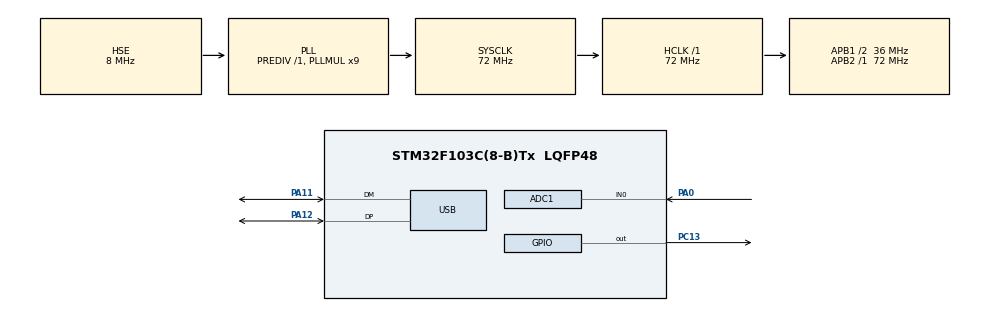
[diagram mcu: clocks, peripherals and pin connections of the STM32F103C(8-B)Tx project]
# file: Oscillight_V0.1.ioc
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ADC1.Channel-1\#ChannelRegularConversion=ADC_CHANNEL_0
ADC1.ContinuousConvMode=ENABLE
ADC1.NbrOfConversionFlag=1
ADC1.Rank-1\#ChannelRegularConversion=1
ADC1.SamplingTime-1\#ChannelRegularConversion=ADC_SAMPLETIME_1CYCLE_5
ADC1.master=1
Dma.ADC1.0.Direction=DMA_PERIPH_TO_MEMORY
Dma.ADC1.0.Instance=DMA1_Channel1
Dma.ADC1.0.MemDataAlignment=DMA_MDATAALIGN_HALFWORD
Dma.ADC1.0.MemInc=DMA_MINC_ENABLE
Dma.ADC1.0.Mode=DMA_NORMAL
Dma.ADC1.0.PeriphDataAlignment=DMA_PDATAALIGN_HALFWORD
Dma.ADC1.0.PeriphInc=DMA_PINC_DISABLE
Dma.ADC1.0.Priority=DMA_PRIORITY_VERY_HIGH
Dma.Request0=ADC1
Mcu.Family=STM32F1
Mcu.Name=STM32F103C(8-B)Tx
Mcu.Package=LQFP48
NVIC.DMA1_Channel1_IRQn=true\:0\:0\:false\:false\:true\:false\:true\:true
NVIC.PriorityGroup=NVIC_PRIORITYGROUP_4
PA0-WKUP.Signal=ADCx_IN0
PA11.Mode=Device
PA11.Signal=USB_DM
PA12.Mode=Device
PA12.Signal=USB_DP
PA13.Mode=Serial_Wire
PA13.Signal=SYS_JTMS-SWDIO
PA14.Mode=Serial_Wire
PA14.Signal=SYS_JTCK-SWCLK
PC13-TAMPER-RTC.Signal=GPIO_Output
PD0-OSC_IN.Mode=HSE-External-Oscillator
PD0-OSC_IN.Signal=RCC_OSC_IN
PD1-OSC_OUT.Mode=HSE-External-Oscillator
PD1-OSC_OUT.Signal=RCC_OSC_OUT
ProjectManager.HeapSize=0x200
ProjectManager.StackSize=0x400
ProjectManager.TargetToolchain=STM32CubeIDE
RCC.ADCPresc=RCC_ADCPCLK2_DIV6
RCC.AHBFreq_Value=72000000
RCC.APB1CLKDivider=RCC_HCLK_DIV2
RCC.APB1Freq_Value=36000000
RCC.APB1TimFreq_Value=72000000
RCC.APB2Freq_Value=72000000
RCC.APB2TimFreq_Value=72000000
RCC.HCLKFreq_Value=72000000
RCC.PLLMUL=RCC_PLL_MUL9
RCC.PLLSourceVirtual=RCC_PLLSOURCE_HSE
RCC.SYSCLKFreq_VALUE=72000000
RCC.SYSCLKSource=RCC_SYSCLKSOURCE_PLLCLK
RCC.USBFreq_Value=48000000
RCC.USBPrescaler=RCC_USBCLKSOURCE_PLL_DIV1_5
SH.ADCx_IN0.0=ADC1_IN0,IN0
board=custom

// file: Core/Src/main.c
/* USER CODE BEGIN Header */
/**
  ******************************************************************************
  * @file           : main.c
  * @brief          : Main program body
  ******************************************************************************
  * @attention
  *
  * Copyright (c) 2025 STMicroelectronics.
  * All rights reserved.
  *
  * This software is licensed under terms that can be found in the LICENSE file
  * in the root directory of this software component.
  * If no LICENSE file comes with this software, it is provided AS-IS.
  *
  ******************************************************************************
  */
/* USER CODE END Header */
#include "main.h"

ADC_HandleTypeDef hadc1;
DMA_HandleTypeDef hdma_adc1;

PCD_HandleTypeDef hpcd_USB_FS;

void SystemClock_Config(void);
static void MX_GPIO_Init(void);
static void MX_DMA_Init(void);
static void MX_ADC1_Init(void);
static void MX_USB_PCD_Init(void);

/* USER CODE BEGIN 0 */
volatile uint16_t ADC_VAL[1024*5];

volatile uint32_t start_time, elapsed_time;

// DWT Başlatma
void DWT_Init(void)
{
    CoreDebug->DEMCR |= CoreDebug_DEMCR_TRCENA_Msk;
    DWT->CYCCNT = 0;
    DWT->CTRL |= DWT_CTRL_CYCCNTENA_Msk;
}

// Mikrosaniye cinsinden zaman alma
uint32_t DWT_GetMicros(void)
{
    return (DWT->CYCCNT / (SystemCoreClock / 1000000)); // SystemCoreClock kaç hertz ise
}

// Taşmayı dikkate alarak geçen süreyi hesaplama
uint32_t DWT_GetDeltaMicros(uint32_t start_time)
{
    uint32_t current_time = DWT_GetMicros();
    if (current_time >= start_time)
    {return (current_time - start_time);}
    else
    {return (0xFFFFFFFF - start_time + current_time + 1);}
}

void HAL_ADC_ConvCpltCallback(ADC_HandleTypeDef *hadc)
{
	elapsed_time = DWT_GetDeltaMicros(start_time);
	start_time = DWT_GetMicros();
	HAL_ADC_Start_DMA(&hadc1, ADC_VAL, 1024*5);
}

/* USER CODE END 0 */

int main(void)
{

  /* MCU Configuration--------------------------------------------------------*/

  /* Reset of all peripherals, Initializes the Flash interface and the Systick. */
  HAL_Init();

  /* Configure the system clock */
  SystemClock_Config();

  /* Initialize all configured peripherals */
  MX_GPIO_Init();
  MX_DMA_Init();
  MX_ADC1_Init();
  MX_USB_PCD_Init();
  /* USER CODE BEGIN 2 */
  DWT_Init();
  start_time = DWT_GetMicros();
  HAL_ADC_Start_DMA(&hadc1, ADC_VAL, 1024*5);
  /* USER CODE END 2 */

  /* Infinite loop */
  while (1)
  {

  }
}

void SystemClock_Config(void)
{
  RCC_OscInitTypeDef RCC_OscInitStruct = {0};
  RCC_ClkInitTypeDef RCC_ClkInitStruct = {0};
  RCC_PeriphCLKInitTypeDef PeriphClkInit = {0};

  /** Initializes the RCC Oscillators according to the specified parameters
  * in the RCC_OscInitTypeDef structure.
  */
  RCC_OscInitStruct.OscillatorType = RCC_OSCILLATORTYPE_HSE;
  RCC_OscInitStruct.HSEState = RCC_HSE_ON;
  RCC_OscInitStruct.HSEPredivValue = RCC_HSE_PREDIV_DIV1;
  RCC_OscInitStruct.HSIState = RCC_HSI_ON;
  RCC_OscInitStruct.PLL.PLLState = RCC_PLL_ON;
  RCC_OscInitStruct.PLL.PLLSource = RCC_PLLSOURCE_HSE;
  RCC_OscInitStruct.PLL.PLLMUL = RCC_PLL_MUL9;
  if (HAL_RCC_OscConfig(&RCC_OscInitStruct) != HAL_OK)
  {
    Error_Handler();
  }

  /** Initializes the CPU, AHB and APB buses clocks
  */
  RCC_ClkInitStruct.ClockType = RCC_CLOCKTYPE_HCLK|RCC_CLOCKTYPE_SYSCLK
                              |RCC_CLOCKTYPE_PCLK1|RCC_CLOCKTYPE_PCLK2;
  RCC_ClkInitStruct.SYSCLKSource = RCC_SYSCLKSOURCE_PLLCLK;
  RCC_ClkInitStruct.AHBCLKDivider = RCC_SYSCLK_DIV1;
  RCC_ClkInitStruct.APB1CLKDivider = RCC_HCLK_DIV2;
  RCC_ClkInitStruct.APB2CLKDivider = RCC_HCLK_DIV1;

  if (HAL_RCC_ClockConfig(&RCC_ClkInitStruct, FLASH_LATENCY_2) != HAL_OK)
  {
    Error_Handler();
  }
  PeriphClkInit.PeriphClockSelection = RCC_PERIPHCLK_ADC|RCC_PERIPHCLK_USB;
  PeriphClkInit.AdcClockSelection = RCC_ADCPCLK2_DIV6;
  PeriphClkInit.UsbClockSelection = RCC_USBCLKSOURCE_PLL_DIV1_5;
  if (HAL_RCCEx_PeriphCLKConfig(&PeriphClkInit) != HAL_OK)
  {
    Error_Handler();
  }
}

static void MX_ADC1_Init(void)
{

  ADC_ChannelConfTypeDef sConfig = {0};

  /** Common config
  */
  hadc1.Instance = ADC1;
  hadc1.Init.ScanConvMode = ADC_SCAN_DISABLE;
  hadc1.Init.ContinuousConvMode = ENABLE;
  hadc1.Init.DiscontinuousConvMode = DISABLE;
  hadc1.Init.ExternalTrigConv = ADC_SOFTWARE_START;
  hadc1.Init.DataAlign = ADC_DATAALIGN_RIGHT;
  hadc1.Init.NbrOfConversion = 1;
  if (HAL_ADC_Init(&hadc1) != HAL_OK)
  {
    Error_Handler();
  }

  /** Configure Regular Channel
  */
  sConfig.Channel = ADC_CHANNEL_0;
  sConfig.Rank = ADC_REGULAR_RANK_1;
  sConfig.SamplingTime = ADC_SAMPLETIME_1CYCLE_5;
  if (HAL_ADC_ConfigChannel(&hadc1, &sConfig) != HAL_OK)
  {
    Error_Handler();
  }

}

static void MX_USB_PCD_Init(void)
{

  hpcd_USB_FS.Instance = USB;
  hpcd_USB_FS.Init.dev_endpoints = 8;
  hpcd_USB_FS.Init.speed = PCD_SPEED_FULL;
  hpcd_USB_FS.Init.low_power_enable = DISABLE;
  hpcd_USB_FS.Init.lpm_enable = DISABLE;
  hpcd_USB_FS.Init.battery_charging_enable = DISABLE;
  if (HAL_PCD_Init(&hpcd_USB_FS) != HAL_OK)
  {
    Error_Handler();
  }

}

static void MX_DMA_Init(void)
{

  /* DMA controller clock enable */
  __HAL_RCC_DMA1_CLK_ENABLE();

  /* DMA interrupt init */
  /* DMA1_Channel1_IRQn interrupt configuration */
  HAL_NVIC_SetPriority(DMA1_Channel1_IRQn, 0, 0);
  HAL_NVIC_EnableIRQ(DMA1_Channel1_IRQn);

}

static void MX_GPIO_Init(void)
{
  GPIO_InitTypeDef GPIO_InitStruct = {0};

  /* GPIO Ports Clock Enable */
  __HAL_RCC_GPIOC_CLK_ENABLE();
  __HAL_RCC_GPIOD_CLK_ENABLE();
  __HAL_RCC_GPIOA_CLK_ENABLE();

  /*Configure GPIO pin Output Level */
  HAL_GPIO_WritePin(GPIOC, GPIO_PIN_13, GPIO_PIN_RESET);

  /*Configure GPIO pin : PC13 */
  GPIO_InitStruct.Pin = GPIO_PIN_13;
  GPIO_InitStruct.Mode = GPIO_MODE_OUTPUT_PP;
  GPIO_InitStruct.Pull = GPIO_NOPULL;
  GPIO_InitStruct.Speed = GPIO_SPEED_FREQ_LOW;
  HAL_GPIO_Init(GPIOC, &GPIO_InitStruct);

}

void Error_Handler(void)
{
  __disable_irq();
  while (1)
  {
  }
}
